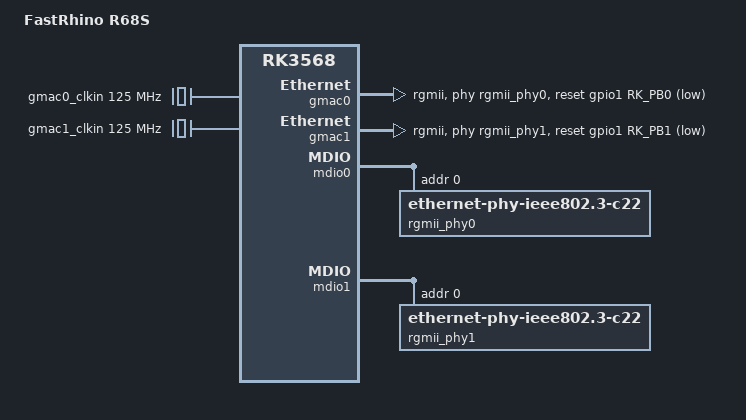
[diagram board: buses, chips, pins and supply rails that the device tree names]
// SPDX-License-Identifier: GPL-2.0-or-later OR MIT

/dts-v1/;

#include "rk3568-fastrhino.dtsi"

/ {
	model = "FastRhino R68S";
	compatible = "fastrhino,r68s", "rockchip,rk3568";
	
	gmac0_clkin: external-gmac0-clock {
		compatible = "fixed-clock";
		clock-frequency = <125000000>;
		clock-output-names = "gmac0_clkin";
		#clock-cells = <0>;
	};

	gmac1_clkin: external-gmac1-clock {
		compatible = "fixed-clock";
		clock-frequency = <125000000>;
		clock-output-names = "gmac1_clkin";
		#clock-cells = <0>;
	};
};

&gmac0 {
	phy-mode = "rgmii";
	clock_in_out = "input";
	snps,reset-gpio = <&gpio1 RK_PB0 GPIO_ACTIVE_LOW>;
	snps,reset-active-low;
	/* Reset time is 20ms, 100ms for rtl8211f */
	snps,reset-delays-us = <0 20000 100000>;
	assigned-clocks = <&cru SCLK_GMAC0_RX_TX>, <&cru SCLK_GMAC0>;
	assigned-clock-parents = <&cru SCLK_GMAC0_RGMII_SPEED>, <&gmac0_clkin>;
	pinctrl-names = "default";
	pinctrl-0 = <&gmac0_miim
		     &gmac0_tx_bus2
		     &gmac0_rx_bus2
		     &gmac0_rgmii_clk
		     &gmac0_rgmii_bus
		     &gmac0_clkinout>;
	tx_delay = <0x3c>;
	rx_delay = <0x2f>;
	phy-handle = <&rgmii_phy0>;
	status = "okay";
};

&gmac1 {
	phy-mode = "rgmii";
	clock_in_out = "input";
	snps,reset-gpio = <&gpio1 RK_PB1 GPIO_ACTIVE_LOW>;
	snps,reset-active-low;
	/* Reset time is 20ms, 100ms for rtl8211f */
	snps,reset-delays-us = <0 20000 100000>;
	assigned-clocks = <&cru SCLK_GMAC1_RX_TX>, <&cru SCLK_GMAC1>;
	assigned-clock-parents = <&cru SCLK_GMAC1_RGMII_SPEED>, <&gmac1_clkin>;
	pinctrl-names = "default";
	pinctrl-0 = <&gmac1m1_miim
		     &gmac1m1_tx_bus2
		     &gmac1m1_rx_bus2
		     &gmac1m1_rgmii_clk
		     &gmac1m1_rgmii_bus
		     &gmac1m1_clkinout>;
	tx_delay = <0x4f>;
	rx_delay = <0x26>;
	phy-handle = <&rgmii_phy1>;
	status = "okay";
};

&mdio0 {
	rgmii_phy0: phy@0 {
		compatible = "ethernet-phy-ieee802.3-c22";
		reg = <0x0>;
	};
};

&mdio1 {
	rgmii_phy1: phy@0 {
		compatible = "ethernet-phy-ieee802.3-c22";
		reg = <0x0>;
	};
};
